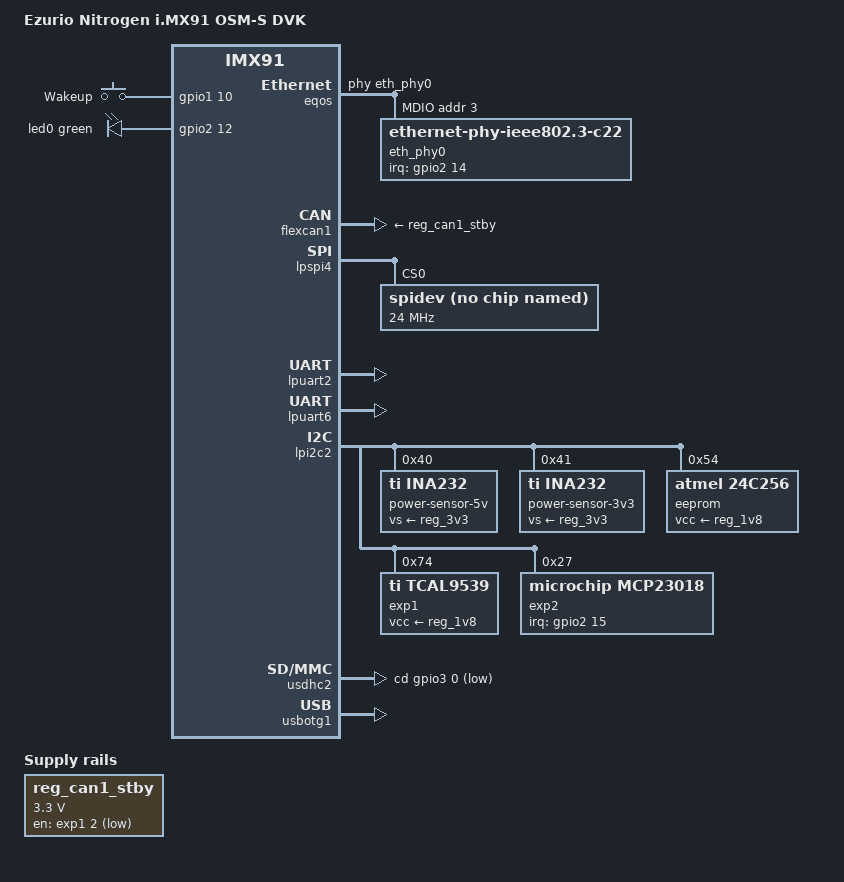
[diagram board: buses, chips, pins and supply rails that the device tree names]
// SPDX-License-Identifier: GPL-2.0-or-later OR MIT
/*
 * Nitrogen i.MX91 OSM-S Carrier (DVK)
 *
 * Copyright 2026 Ezurio LLC
 */

/dts-v1/;

#include <dt-bindings/leds/common.h>
#include <dt-bindings/input/input.h>
#include <dt-bindings/net/ti-dp83867.h>

#include "nitrogen-imx91-osm-s.dtsi"

/ {
	model = "Ezurio Nitrogen i.MX91 OSM-S DVK";
	compatible = "summit,nitrogen-imx91-osm-s-dvk", "summit,nitrogen-imx91-osm-s", "fsl,imx91";

	aliases {
		gpio4 = &exp1;
		gpio5 = &exp2;
	};

	reg_can1_stby: regulator-can1-stby {
		compatible = "regulator-fixed";
		regulator-name = "reg_can1_stby";
		regulator-min-microvolt = <3300000>;
		regulator-max-microvolt = <3300000>;

		gpios = <&exp1 2 GPIO_ACTIVE_HIGH>;	/* CAN_A_STB (HIGH=standby on TCAN1046) */
		enable-active-low;
	};

	dvk_keys {
		compatible = "gpio-keys";

		pinctrl-names = "default";
		pinctrl-0 = <&pinctrl_osm_gpio_a_7>;

		wakeup {
			label = "Wakeup";
			interrupts-extended = <&gpio1 10 IRQ_TYPE_LEVEL_LOW>;
			interrupt-names = "irq";
			linux,code = <KEY_WAKEUP>;
			wakeup-source;

			//gpios = <&gpio1 10 GPIO_ACTIVE_LOW>;
			//wakeup-event-action = <EV_ACT_ASSERTED>;
		};
	};

	leds {
		compatible = "gpio-leds";

		pinctrl-names = "default";
		pinctrl-0 = <&pinctrl_osm_gpio_a_0>;

		led0 {
			color = <LED_COLOR_ID_GREEN>;
			gpios = <&gpio2 12 GPIO_ACTIVE_HIGH>;
			default-state = "off";
		};
	};
};

&eqos { /* ETH_A */
	status = "okay";

	phy-handle = <&eth_phy0>;

	mdio {
		pinctrl-names = "default";
		pinctrl-0 = <&pinctrl_osm_gpio_a_1>;	/* ETH_A_RST */

		reset-gpios = <&gpio2 13 GPIO_ACTIVE_LOW>;	/* GPIO_A_1 / ETH_A_RST */
		reset-delay-us = <150>;
		reset-post-delay-us = <300>;

		eth_phy0: ethernet-phy@3 {
			compatible = "ethernet-phy-ieee802.3-c22";
			reg = <3>;

			pinctrl-names = "default";
			pinctrl-0 = <&pinctrl_osm_gpio_a_2>;	/* ETH_A_INT */
			interrupts-extended = <&gpio2 14 IRQ_TYPE_LEVEL_LOW>;	/* GPIO_A_2 / ETH_A_INT */

			ti,rx-internal-delay = <DP83867_RGMIIDCTL_2_00_NS>;
			ti,tx-internal-delay = <DP83867_RGMIIDCTL_2_00_NS>;
			tx-fifo-depth = <DP83867_PHYCR_FIFO_DEPTH_4_B_NIB>;
			rx-fifo-depth = <DP83867_PHYCR_FIFO_DEPTH_4_B_NIB>;
			ti,clk-output-sel = <DP83867_CLK_O_SEL_OFF>;
		};
	};
};

&flexcan1 { /* CAN_A */
	status = "okay";
	xceiver-supply = <&reg_can1_stby>;
};

&lpspi4 { /* SPI_A */
	status = "okay";

	spidev@0 {
		compatible = "rohm,dh2228fv";
		spi-max-frequency = <24000000>;
		reg = <0>;
	};
};

&lpuart2 { /* UART_A */
	status = "okay";
};

&lpuart6 { /* UART_B */
	status = "okay";
};

&lpi2c2 { /* I2C_A */
	status = "okay";

	power-sensor-5v@40 {
		compatible = "ti,ina232"; /* TI, INA232AIDDFR */
		reg = <0x40>;
		vs-supply = <&reg_3v3>;
		shunt-resistor = <33000>; /* 0.033 Ohms */
	};

	power-sensor-3v3@41 {
		compatible = "ti,ina232"; /* TI, INA232AIDDFR */
		reg = <0x41>;
		vs-supply = <&reg_3v3>;
		shunt-resistor = <33000>; /* 0.033 Ohms */
	};

	eeprom@54 {
		/* U53, Giantec, GT24C256C-2GLI-TR */
		compatible = "atmel,24c256";
		reg = <0x54>;
		vcc-supply = <&reg_1v8>;
	};

	exp1: gpio@74 {
		/* U35, TI, TCAL9539RTWR */
		compatible = "ti,tcal9539", "nxp,pcal9535";
		reg = <0x74>;

		vcc-supply = <&reg_1v8>;

		#gpio-cells = <2>;
		gpio-controller;

		gpio-line-names =
			"USB_C_OEn_P00", "USB_D_OEn_P01",
			"CAN_A_STB", "CAN_B_STB",
			"M2_WDISABLE1#", "M2_WDISABLE2#",
			"CSI_PWR_CTL_A", "CSI_PWR_CTL_B",
			"AUD_PWR_EN", "M2_Vendor_DF38", "CSI_PWR_CTL_C",
			"CHGR_CE#", "M2_POWER_EN",
			"CSI_PWR_CTL_B", "SDIO_A_SEL", "NC";
	};

	exp2: gpio@27 {
		/* U21, Microchip, MCP23018 */
		compatible = "microchip,mcp23018";
		reg = <0x27>;

		#gpio-cells = <2>;
		gpio-controller;

		gpio-line-names =
			"DSI_A_INT", "DSI_A_HPD",
			"LVDS_D_INT", "LVDS_D_HPD",
			"LVDS_E_INT", "LVDS_E_HPD",
			"RGB_INT", "RGB_HDMI_HPD",
			"ACD_nINT", "M2_UART_WAKE",
			"M2_SD_HOST_WAKE", "CHRGR_INTn",
			"VOL_UP", "VOL_DOWN",
			"", "DSI_A_IRQ";

		pinctrl-names = "default";
		pinctrl-0 = <&pinctrl_osm_gpio_a_3>;

		#interrupt-cells = <2>;
		interrupt-controller;
		microchip,irq-mirror;

		interrupts-extended = <&gpio2 15 IRQ_TYPE_EDGE_FALLING>; /* GPIO_A_3 */
		interrupt-names = "irq";
	};
};

&usdhc2 { /* SDIO_A (uSD / M.2 socket) */
	pinctrl-0 = <&pinctrl_usdhc2>, <&pinctrl_usdhc2_gpio>;
	pinctrl-1 = <&pinctrl_usdhc2_100mhz>, <&pinctrl_usdhc2_gpio>;
	pinctrl-2 = <&pinctrl_usdhc2_200mhz>, <&pinctrl_usdhc2_gpio>;
	pinctrl-3 = <&pinctrl_usdhc2_sleep>, <&pinctrl_usdhc2_gpio_sleep>;

	cd-gpios = <&gpio3 0 GPIO_ACTIVE_LOW>;
	fsl,cd-gpio-wakeup-disable;

	status = "okay";
};

&usbotg1 { /* USB_A */
	status = "okay";

	hnp-disable;
	srp-disable;
	adp-disable;
	disable-over-current;
};
